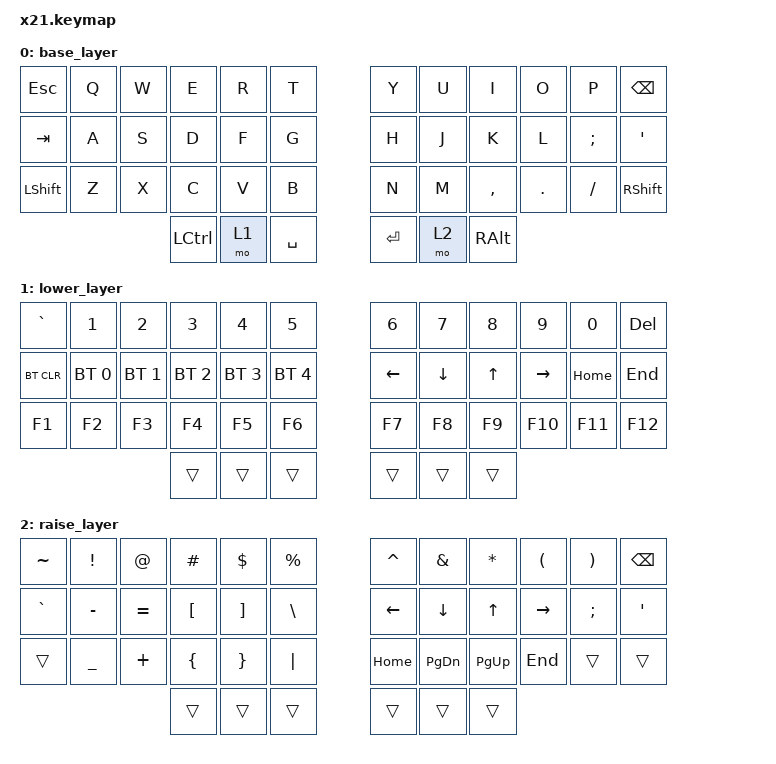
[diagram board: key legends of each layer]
#include <behaviors.dtsi>
#include <dt-bindings/zmk/keys.h>
#include <dt-bindings/zmk/bt.h>

/ {
    keymap {
        compatible = "zmk,keymap";

        base_layer {
            bindings = <
                &kp ESC    &kp Q      &kp W      &kp E      &kp R      &kp T      &kp Y      &kp U      &kp I      &kp O      &kp P      &kp BSPC
                &kp TAB    &kp A      &kp S      &kp D      &kp F      &kp G      &kp H      &kp J      &kp K      &kp L      &kp SEMI   &kp SQT
                &kp LSHIFT &kp Z      &kp X      &kp C      &kp V      &kp B      &kp N      &kp M      &kp COMMA  &kp DOT    &kp SLASH  &kp RSHIFT
                                     &kp LCTRL   &mo 1      &kp SPACE  &kp ENTER  &mo 2      &kp RALT
            >;
        };

        lower_layer {
            bindings = <
                &kp GRAVE  &kp N1       &kp N2       &kp N3       &kp N4       &kp N5       &kp N6      &kp N7      &kp N8      &kp N9      &kp N0      &kp DEL
                &bt BT_CLR &bt BT_SEL 0 &bt BT_SEL 1 &bt BT_SEL 2 &bt BT_SEL 3 &bt BT_SEL 4 &kp LEFT    &kp DOWN    &kp UP      &kp RIGHT   &kp HOME    &kp END
                &kp F1     &kp F2       &kp F3       &kp F4       &kp F5       &kp F6       &kp F7      &kp F8      &kp F9      &kp F10     &kp F11     &kp F12
                                      &trans        &trans       &trans       &trans       &trans      &trans
            >;
        };

        raise_layer {
            bindings = <
                &kp TILDE  &kp EXCL    &kp AT      &kp HASH    &kp DLLR    &kp PRCNT    &kp CARET   &kp AMPS    &kp ASTERISK &kp LPAR    &kp RPAR    &kp BSPC
                &kp GRAVE  &kp MINUS   &kp EQUAL   &kp LBKT    &kp RBKT    &kp BSLH     &kp LEFT    &kp DOWN    &kp UP       &kp RIGHT   &kp SEMI    &kp SQT
                &trans     &kp UNDER   &kp PLUS    &kp LBRC    &kp RBRC    &kp PIPE     &kp HOME    &kp PG_DN   &kp PG_UP    &kp END     &trans      &trans
                                     &trans       &trans      &trans       &trans       &trans      &trans
            >;
        };
    };
};
